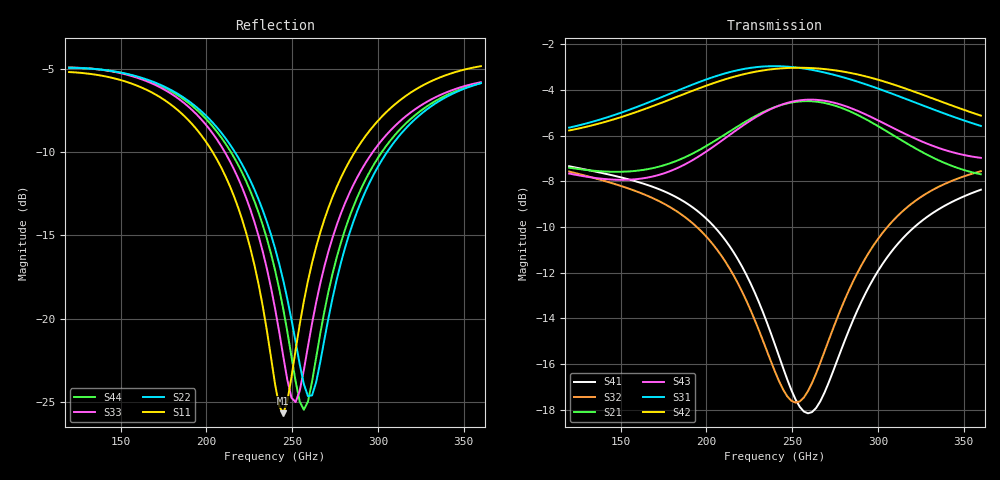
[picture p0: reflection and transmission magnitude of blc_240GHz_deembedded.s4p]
! Created with skrf 2.0.1 (http://scikit-rf.org).
# GHz S DB R 50.0
!freq dBS11 angS11 dBS12 angS12 dBS13 angS13
! dBS14 angS14
! dBS21 angS21 dBS22 angS22 dBS23 angS23
! dBS24 angS24
! dBS31 angS31 dBS32 angS32 dBS33 angS33
! dBS34 angS34
! dBS41 angS41 dBS42 angS42 dBS43 angS43
! dBS44 angS44
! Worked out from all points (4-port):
!   101 points, 120 GHz to 360 GHz, reference 50 ohm
!   strongest paths, dB at 120 GHz, 180 GHz, 240 GHz, 300 GHz, 360 GHz:
!     S42: -5.8, -4.4, -3.1, -3.5, -5.1
!     S31: -5.6, -4.1, -3.0, -3.9, -5.6
!     S43: -7.7, -7.5, -4.7, -5.3, -7.0
!     S21: -7.4, -7.2, -4.7, -5.6, -7.7
!     S32: -7.6, -9.2, -16.3, -10.5, -7.6
!     S41: -7.3, -8.6, -15.2, -11.9, -8.4
!   lowest |S11| = -25.7 dB at 244.8 GHz (marker M1), VSWR 1.11, Z = 55.4 + j1.07 ohm
!   |S11| at or under -10 dB: 203.6 GHz to 286.6 GHz (82.98 GHz wide, 33.9 % of centre)
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120  -5.21 167.4  -7.40 -46.5  -5.64 -75.2  -7.33 -57.9
     -7.40 -46.5  -4.96 157.4  -7.56 -62.1  -5.77 -79.7
     -5.64 -75.2  -7.56 -62.1  -4.94 156.5  -7.65 -50.2
     -7.33 -57.9  -5.77 -79.7  -7.65 -50.2  -4.95 157.1
201.6  -9.67 125.4  -6.37 -64.6  -3.49 -133.9  -9.75 -102.0
       -6.37 -64.6  -8.02 112.2  -10.55 -106.2  -3.76 -139.4
       -3.49 -133.9  -10.55 -106.2  -8.61 106.9  -6.61 -67.5
       -9.75 -102.0  -3.76 -139.4  -6.61 -67.5  -8.23 110.4
244.8  -25.68 10.7  -4.63 -87.7  -2.96 -174.2  -16.18 -113.4
       -4.63 -87.7  -17.70 63.1  -17.12 -105.6  -3.04 -179.4
       -2.96 -174.2  -17.12 -105.6  -22.25 33.9  -4.61 -91.5
       -16.18 -113.4  -3.04 -179.4  -4.61 -91.5  -19.42 55.7
252  -21.88 -41.3  -4.52 -92.8  -3.01 179.0  -17.55 -105.1
     -4.52 -92.8  -21.38 41.4  -17.68 -93.8  -3.02 173.7
     -3.01 179.0  -17.68 -93.8  -25.00 -19.8  -4.48 -96.8
     -17.55 -105.1  -3.02 173.7  -4.48 -96.8  -23.75 24.9
261.6  -16.66 -67.3  -4.49 -99.8  -3.12 170.0  -18.10 -87.7
       -4.49 -99.8  -24.60 -22.7  -16.82 -78.5  -3.04 164.5
       -3.12 170.0  -16.82 -78.5  -20.29 -77.3  -4.42 -104.0
       -18.10 -87.7  -3.04 164.5  -4.42 -104.0  -23.78 -51.6
295.2  -8.72 -100.4  -5.37 -121.8  -3.81 140.6  -12.55 -69.3
       -5.37 -121.8  -11.82 -114.2  -11.06 -76.0  -3.44 133.0
       -3.81 140.6  -11.06 -76.0  -10.28 -125.9  -5.15 -126.7
       -12.55 -69.3  -3.44 133.0  -5.15 -126.7  -11.19 -120.1
360  -4.86 -133.4  -7.69 -142.6  -5.57 92.9  -8.36 -103.1
     -7.69 -142.6  -5.88 -160.4  -7.55 -115.8  -5.12 80.4
     -5.57 92.9  -7.55 -115.8  -5.82 -166.0  -6.97 -150.8
     -8.36 -103.1  -5.12 80.4  -6.97 -150.8  -5.88 -163.6
